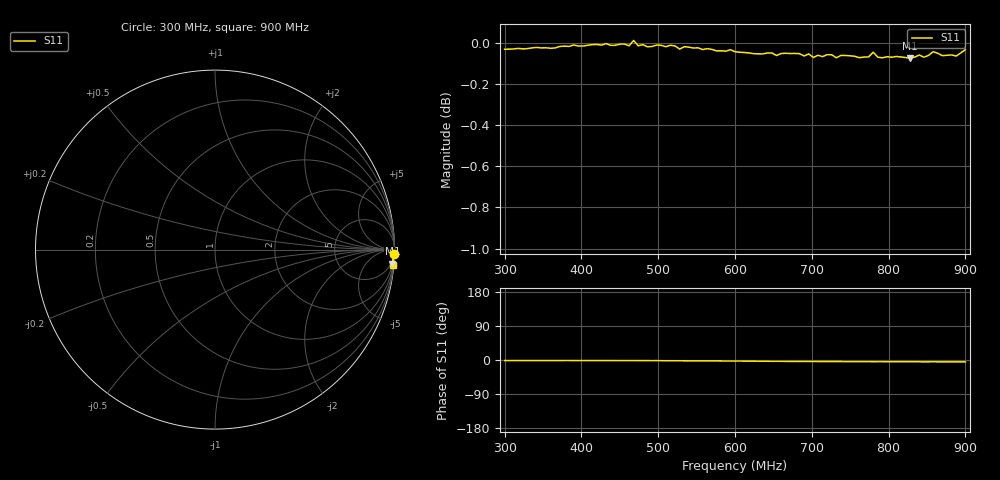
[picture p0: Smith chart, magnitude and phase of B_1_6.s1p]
# HZ S RI R 50
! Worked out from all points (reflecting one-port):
!   101 points, 300 MHz to 900 MHz, reference 50 ohm
!   lowest |S11| = -0.1 dB at 828 MHz (marker M1), VSWR 230.64, Z = 136 - j1.24e+03 ohm
!   phase of S11 starts at -1 deg and turns -3 deg over the sweep
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3e8  0.9961 -0.0257
3.78e8  0.9979 -0.0236
4.5e8  0.999 -0.0258
4.62e8  0.998 -0.0264
4.68e8  1.001 -0.0262
4.74e8  0.998 -0.0272
4.98e8  0.9984 -0.029
5.16e8  0.9981 -0.0327
5.28e8  0.9959 -0.0345
5.34e8  0.9972 -0.0361
6e8  0.9939 -0.0483
6.24e8  0.9926 -0.0527
6.48e8  0.9925 -0.0606
6.54e8  0.9911 -0.0596
6.78e8  0.9919 -0.0654
6.84e8  0.9916 -0.068
6.9e8  0.9905 -0.0661
7.5e8  0.99 -0.0741
7.74e8  0.9893 -0.0759
7.8e8  0.9917 -0.078
7.86e8  0.989 -0.0766
8.28e8  0.9882 -0.0787
8.4e8  0.9899 -0.0812
8.46e8  0.9886 -0.0823
8.58e8  0.9918 -0.0809
8.7e8  0.9894 -0.0832
8.88e8  0.9891 -0.0838
9e8  0.9926 -0.085
